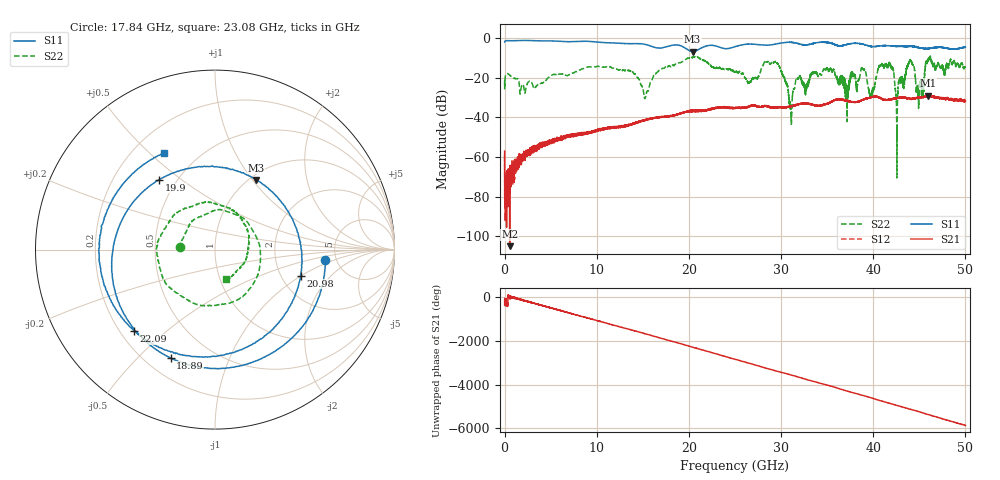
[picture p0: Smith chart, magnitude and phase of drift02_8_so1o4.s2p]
!Created with skrf (http://scikit-rf.org).
# Hz S RI R 50.0
!freq ReS11 ImS11 ReS21 ImS21 ReS12 ImS12 ReS22 ImS22
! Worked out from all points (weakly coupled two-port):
!   10001 points, 300 kHz to 50 GHz, reference 50 ohm
!   highest |S21| = -29.06 dB at 45.96 GHz (marker M1); lowest = -104.9 dB at 550.3 MHz (marker M2)
!   lowest |S11| = -6.9 dB at 20.4 GHz (marker M3), VSWR 2.64, Z = 53.6 + j52 ohm
!   |S11| at or under -10 dB: nowhere
!   |S22| runs from -70.6 to -9.2 dB; largest |S21 - S12| = 0.003
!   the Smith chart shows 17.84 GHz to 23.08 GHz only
!   S11 on the Smith chart (normalised r, x): 17.84 GHz: 4.08, -0.74; 18.89 GHz: 0.30, -0.63; 19.9 GHz: 0.40, +0.42; 20.98 GHz: 2.55, -0.98; 22.09 GHz: 0.26, -0.39; 23.08 GHz: 0.32, +0.55
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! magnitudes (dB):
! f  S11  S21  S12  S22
! 300 kHz  -2.1  -57.1  -59.5  -21.6
! 550.3 MHz  -1.5  -104.9  -74.5  -18.8
! 8.335 GHz  -1.7  -49.1  -48.5  -15.8
! 15.3 GHz  -3.4  -41.3  -41.6  -29.6
! 16.67 GHz  -5.2  -40.2  -40.2  -16.9
! 17.84 GHz  -4.2  -39.7  -39.3  -14.1
! 18.89 GHz  -3.7  -38.3  -38.4  -12.6
! 19.9 GHz  -6.0  -37.1  -37.0  -10.3
! 20.4 GHz  -6.9  -36.9  -36.9  -9.9
! 20.98 GHz  -6.1  -37.2  -36.6  -9.8
! 22.09 GHz  -3.9  -36.3  -36.1  -12.8
! 23.08 GHz  -4.3  -35.4  -35.2  -15.0
! 25 GHz  -4.5  -35.2  -35.3  -17.2
! 29.5 GHz  -3.1  -35.3  -35.2  -12.5
! 31.04 GHz  -2.3  -34.5  -34.6  -35.0
! 33.34 GHz  -3.1  -33.5  -33.5  -18.1
! 38.92 GHz  -3.3  -31.0  -31.0  -15.9
! 39.75 GHz  -4.3  -30.0  -30.1  -29.5
! 41.67 GHz  -4.0  -31.1  -31.2  -13.5
! 42.57 GHz  -4.3  -30.4  -30.3  -70.6
! 45.96 GHz  -5.4  -29.1  -29.3  -11.3
! 50 GHz  -4.7  -31.9  -31.7  -15.1
